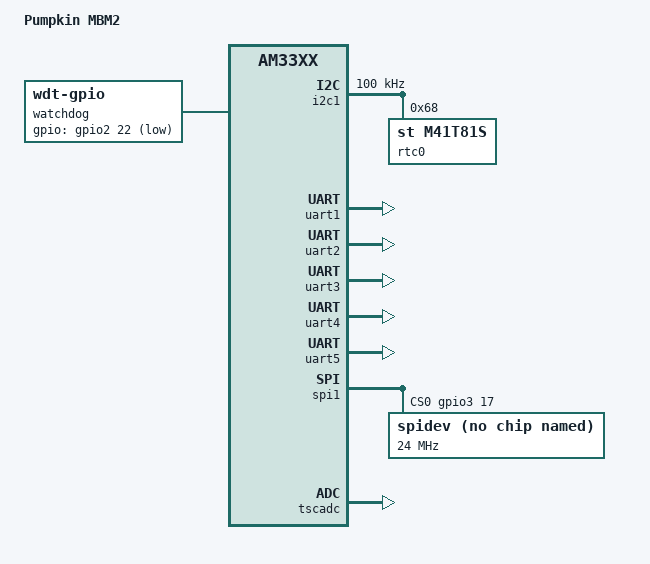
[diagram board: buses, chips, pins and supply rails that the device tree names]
/*
 * Copyright (C) 2017 Kubos Corporation
 *
 * Licensed under the Apache License, Version 2.0 (the "License");
 * you may not use this file except in compliance with the License.
 * You may obtain a copy of the License at
 *
 *	 http://www.apache.org/licenses/LICENSE-2.0
 *
 * Unless required by applicable law or agreed to in writing, software
 * distributed under the License is distributed on an "AS IS" BASIS,
 * WITHOUT WARRANTIES OR CONDITIONS OF ANY KIND, either express or implied.
 * See the License for the specific language governing permissions and
 * limitations under the License.
 */
/dts-v1/;

#include "am33xx-boneblack.dtsi"

/ {
	model = "Pumpkin MBM2";
	compatible = "pumpkin,mbm2", "ti,am335x-bone-black", "ti,am335x-bone", "ti,am33xx";

	watchdog {
		pinctrl-names = "default";
		pinctrl-0 = <&wdt_pins>;
		compatible = "linux,wdt-gpio";
		/* Note: This pin is configurable, so may differ between stacks */
		gpios = <&gpio2 22 GPIO_ACTIVE_LOW>;
		hw_algo = "toggle";
		hw_margin_ms = <200>;
		always-running;
	};
};

&am33xx_pinmux {
	wdt_pins: pinmux_wdt_pins {
		pinctrl-single,pins = <
			0x0e0 (PIN_OUTPUT | MUX_MODE7)  /* H2.24 */
		>;
	};

	uart1_pins: pinmux_uart1_pins {
		pinctrl-single,pins = <
			0x184 (PIN_OUTPUT | MUX_MODE0)	/* TX  - H1.18 */
			0x180 (PIN_INPUT  | MUX_MODE0)	/* RX  - H1.17 */
			0x17c (PIN_OUTPUT | MUX_MODE0)	/* RTS - H1.10 */
			0x178 (PIN_INPUT  | MUX_MODE0)	/* CTS - H1.9  */
		>;
	};

	uart2_pins: pinmux_uart2_pins {
		pinctrl-single,pins = <
			0x154 (PIN_OUTPUT | MUX_MODE1)	/* TX  - H1.8  */
			0x150 (PIN_INPUT  | MUX_MODE1)	/* RX  - H1.7  */
		>;
	};

	uart3_pins: pinmux_uart3_pins {
		pinctrl-single,pins = <
			0x164 (PIN_OUTPUT | MUX_MODE1)	/* TX  - H1.5  */
		>;
	};

	uart4_pins: pinmux_uart4_pins {
		pinctrl-single,pins = <
			0x074 (PIN_OUTPUT | MUX_MODE6)	/* TX  - H1.16 */
			0x070 (PIN_INPUT  | MUX_MODE6)	/* RX  - H1.15 */
		>;
	};

	uart5_pins: pinmux_uart5_pins {
		pinctrl-single,pins = <
			0x0c0 (PIN_OUTPUT | MUX_MODE4)	/* TX  - P8.37 */
			0x0c4 (PIN_INPUT  | MUX_MODE4)	/* RX  - P8.38 */
			0x0dc (PIN_OUTPUT | MUX_MODE6)	/* RTS - P8.32 */
			0x0d8 (PIN_INPUT  | MUX_MODE6)	/* CTS - P8.31 */
		>;
	};

	i2c1_pins: pinmux_i2c1_pins {
		pinctrl-single,pins = <
			0x158 (PIN_INPUT_PULLUP | MUX_MODE2)	/* SDA - H1.41 */
			0x15c (PIN_INPUT_PULLUP | MUX_MODE2)	/* SCL - H1.43 */
		>;
	};

	spi1_pins: pinmux_spi1_pins {
		pinctrl-single,pins = <
			0x190 (PIN_INPUT_PULLUP | MUX_MODE3)	/* SCLK - H1.21 */
			0x194 (PIN_INPUT_PULLUP | MUX_MODE3)	/* MISO - H1.22 */
			0x198 (PIN_OUTPUT_PULLUP | MUX_MODE3)	/* MOSI - H1.23 */
			0x19c (PIN_OUTPUT_PULLUP | MUX_MODE3)	/* CS   - H1.24 */
		>;
	};

};

&i2c1 {
	pinctrl-names = "default";
	pinctrl-0 = <&i2c1_pins>;
	clock-frequency = <100000>;

	status = "okay";
	
	rtc0@68 {
		compatible = "st,m41t81s";
		reg = <0x68>;
	};
};

&i2c2 {
	/* I2C-2 conflicts with UART1 RTS/CTS */
	status = "disabled";
};

&uart1 {
	pinctrl-names = "default";
	pinctrl-0 = <&uart1_pins>;
	status = "okay";
};

&uart2 {
	pinctrl-names = "default";
	pinctrl-0 = <&uart2_pins>;
	status = "okay";
};

&uart3 {
	pinctrl-names = "default";
	pinctrl-0 = <&uart3_pins>;
	status = "okay";
};

&uart4 {
	pinctrl-names = "default";
	pinctrl-0 = <&uart4_pins>;
	status = "okay";
};

&uart5 {
	pinctrl-names = "default";
	pinctrl-0 = <&uart5_pins>;
	status = "okay";
};

&spi1 {
	pinctrl-names = "default";
	pinctrl-0 = <&spi1_pins>;
	ti,spi-num-cs = <1>;
	cs-gpios = <&gpio3 17 0>;

	status = "okay";

	/* This will be replaced with the SD over SPI definition in the future */
	spidev@1 {
		spi-max-frequency = <24000000>;
		reg = <0>;
		compatible = "spidev";
	};
};

&tscadc {
	status = "okay";
	adc {
		ti,adc-channels = <0 1 2 3 4 5 6>;
		ti,chan-step-avg = <0x16 0x16 0x16 0x16 0x16 0x16 0x16>;
		ti,chan-step-opendelay = <0x98 0x98 0x98 0x98 0x98 0x98 0x98>;
		ti,chan-step-sampledelay = <0x0 0x0 0x0 0x0 0x0 0x0 0x0>;
	};
};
